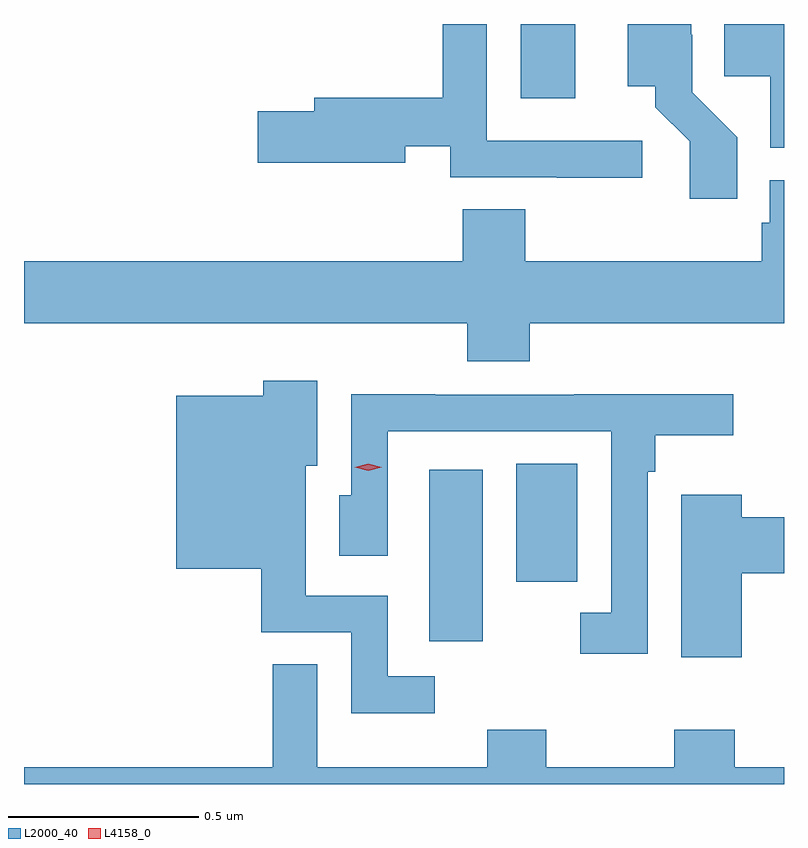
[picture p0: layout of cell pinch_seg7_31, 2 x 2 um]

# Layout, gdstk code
import gdstk
lib = gdstk.Library(unit=1e-6, precision=1e-09)
def R(c, l, rs):  # rectangles x0, y0, x1, y1
    for r in rs: c.add(gdstk.rectangle(r[:2], r[2:], *l))
def P(c, l, *ps):  # polygons
    for p in ps: c.add(gdstk.Polygon(p, *l))
L2000_40 = (2000, 40)
L4158_0 = (4158, 0)

pinch_seg7_31 = lib.new_cell('pinch_seg7_31')
R(pinch_seg7_31, L2000_40, [(1068.218,1074.372,1068.358,1074.823), (1068.446,1074.528,1068.607,1074.839), (1068.458,1075.8,1068.601,1075.996)])
P(pinch_seg7_31, L2000_40, [(1068.778,1075.689),(1068.369,1075.689),(1068.369,1075.996),(1068.253,1075.996),(1068.253,1075.802),(1067.915,1075.802),(1067.915,1075.766),(1067.766,1075.766),(1067.766,1075.631),(1068.154,1075.631),(1068.154,1075.674),(1068.273,1075.674),(1068.273,1075.593),(1068.553,1075.593),(1068.553,1075.591),(1068.778,1075.591)],
  [(1069.151,1075.996),(1068.994,1075.996),(1068.994,1075.858),(1069.115,1075.858),(1069.115,1075.67),(1069.151,1075.67)],
  [(1069.028,1075.698),(1068.909,1075.817),(1068.909,1075.968),(1068.907,1075.968),(1068.907,1075.996),(1068.74,1075.996),(1068.74,1075.832),(1068.812,1075.832),(1068.812,1075.777),(1068.903,1075.687),(1068.903,1075.536),(1069.028,1075.536)],
  [(1068.482,1075.208),(1069.151,1075.208),(1069.151,1075.585),(1069.113,1075.585),(1069.113,1075.473),(1069.093,1075.473),(1069.093,1075.372),(1068.47,1075.372),(1068.47,1075.508),(1068.305,1075.508),(1068.305,1075.372),(1067.151,1075.372),(1067.151,1075.208),(1068.317,1075.208),(1068.317,1075.109),(1068.482,1075.109)],
  [(1068.232,1074.279),(1068.108,1074.279),(1068.108,1074.492),(1067.893,1074.492),(1067.893,1074.833),(1067.923,1074.833),(1067.923,1075.057),(1067.78,1075.057),(1067.78,1075.018),(1067.552,1075.018),(1067.552,1074.563),(1067.775,1074.563),(1067.775,1074.396),(1068.012,1074.396),(1068.012,1074.182),(1068.232,1074.182)],
  [(1068.792,1074.818),(1068.812,1074.818),(1068.812,1074.914),(1069.018,1074.914),(1069.018,1075.022),(1068.599,1075.022),(1068.599,1075.02),(1068.233,1075.02),(1068.233,1075.022),(1068.012,1075.022),(1068.012,1074.756),(1067.981,1074.756),(1067.981,1074.597),(1068.108,1074.597),(1068.108,1074.924),(1068.696,1074.924),(1068.696,1074.447),(1068.615,1074.447),(1068.615,1074.339),(1068.792,1074.339)],
  [(1069.04,1074.551),(1069.151,1074.551),(1069.151,1074.698),(1069.04,1074.698),(1069.04,1074.757),(1068.881,1074.757),(1068.881,1074.33),(1069.04,1074.33)],
  [(1069.151,1074.04),(1069.022,1074.04),(1069.022,1074.139),(1068.862,1074.139),(1068.862,1074.04),(1068.525,1074.04),(1068.525,1074.139),(1068.37,1074.139),(1068.37,1074.04),(1067.923,1074.04),(1067.923,1074.311),(1067.805,1074.311),(1067.805,1074.04),(1067.151,1074.04),(1067.151,1073.996),(1069.151,1073.996)])
P(pinch_seg7_31, L4158_0, [(1068.057,1074.82),(1068.022,1074.83),(1068.022,1074.83),(1068.022,1074.83),(1068.057,1074.839),(1068.092,1074.829),(1068.092,1074.829),(1068.092,1074.829)])

lib.write_gds('pinch_seg7_31.gds')
